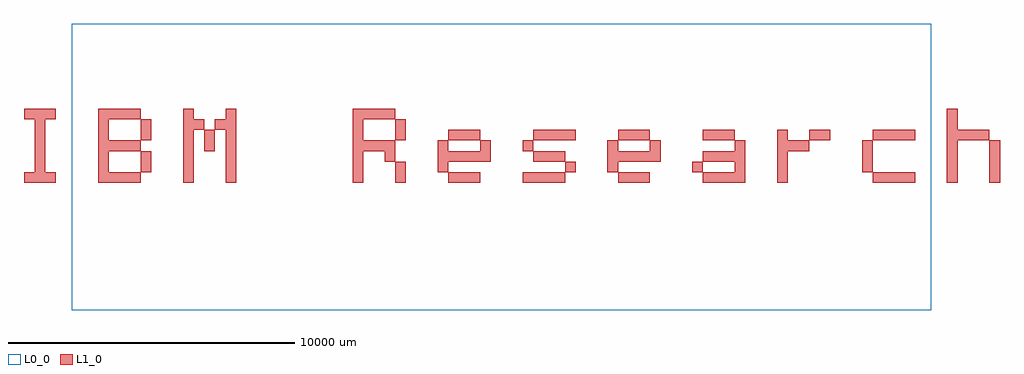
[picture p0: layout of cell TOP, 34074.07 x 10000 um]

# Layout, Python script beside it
import gdspy

# Create a new GDSII library
lib = gdspy.GdsLibrary()

# Create a new cell
cell = lib.new_cell('TOP')

# Define rectangle dimensions in microns (30 mm x 10 mm)
width = 30000    # 30 mm = 30000 microns
height = 10000   # 10 mm = 10000 microns

# Create a rectangle from (0, 0) to (width, height) on layer 0
rectangle = gdspy.Rectangle((0, 0), (width, height), layer=0)
cell.add(rectangle)

# Define the text to be placed at the center
text_string = "IBM Research"

# Set the text size (height of the text)
text_height = height / 3  # Text height is one-third of the rectangle height

# Create the text at origin for initial positioning
text = gdspy.Text(text_string, size=text_height, position=(0, 0), layer=1)

# Calculate the bounding box of the text to determine its dimensions
bbox = text.get_bounding_box()
text_width = bbox[1][0] - bbox[0][0]
text_height_actual = bbox[1][1] - bbox[0][1]

# Calculate the position to center the text within the rectangle
center_x = width / 2
center_y = height / 2
text_position = (center_x - text_width / 2, center_y - text_height_actual / 2)

# Move the text to the calculated center position
text.translate(text_position[0], text_position[1])

# Add the text to the cell on layer 1
cell.add(text)

# Save the design to a GDSII file
lib.write_gds('rectangle_with_text.gds')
